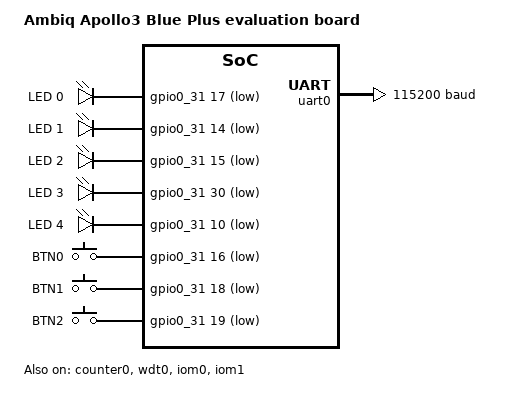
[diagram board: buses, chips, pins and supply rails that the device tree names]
/dts-v1/;
#include <ambiq/ambiq_apollo3p.dtsi>

#include "apollo3p_blue_evb-pinctrl.dtsi"

/ {
	model = "Ambiq Apollo3 Blue Plus evaluation board";
	compatible = "ambiq,apollo3p_blue_evb";
	chosen {
		zephyr,itcm = &tcm;
		zephyr,sram = &sram0;
		zephyr,flash = &flash0;
		zephyr,console = &uart0;
		zephyr,shell-uart = &uart0;
		zephyr,uart-pipe = &uart0;
	};
	aliases {
		watchdog0 = &wdt0;
		led0 = &led0;
		led1 = &led1;
		led2 = &led2;
		led3 = &led3;
		led4 = &led4;
		sw0 = &button0;
		sw1 = &button1;
		sw2 = &button2;
	};

	leds {
		compatible = "gpio-leds";
		led0: led_0 {
			gpios = <&gpio0_31 17 GPIO_ACTIVE_LOW>;
			label = "LED 0";
		};
		led1: led_1 {
			gpios = <&gpio0_31 14 GPIO_ACTIVE_LOW>;
			label = "LED 1";
		};
		led2: led_2 {
			gpios = <&gpio0_31 15 GPIO_ACTIVE_LOW>;
			label = "LED 2";
		};
		led3: led_3 {
			gpios = <&gpio0_31 30 GPIO_ACTIVE_LOW>;
			label = "LED 3";
		};
		led4: led_4 {
			gpios = <&gpio0_31 10 GPIO_ACTIVE_LOW>;
			label = "LED 4";
		};
	};

	buttons {
		compatible = "gpio-keys";
		button0: button_0 {
			gpios = <&gpio0_31 16 GPIO_ACTIVE_LOW>;
			label = "BTN0";
		};
		button1: button_1 {
			gpios = <&gpio0_31 18 GPIO_ACTIVE_LOW>;
			label = "BTN1";
		};
		button2: button_2 {
			gpios = <&gpio0_31 19 GPIO_ACTIVE_LOW>;
			label = "BTN2";
		};
	};
};

&uart0 {
	current-speed = <115200>;
	pinctrl-0 = <&uart0_default>;
	pinctrl-names = "default";
	status = "okay";
};

&counter0 {
	status = "okay";
};

&wdt0 {
	status = "okay";
};

&iom0 {
	compatible = "ambiq,i2c";
	pinctrl-0 = <&i2c0_default>;
	pinctrl-names = "default";
	clock-frequency = <I2C_BITRATE_STANDARD>;
	status = "okay";
};

&iom1 {
	compatible = "ambiq,spi";
	pinctrl-0 = <&spi0_default>;
	pinctrl-names = "default";
	clock-frequency = <1000000>;
	status = "okay";
};

&gpio0_31 {
	status = "okay";
};

&gpio32_63 {
	status = "okay";
};

&gpio64_73 {
	status = "okay";
};
